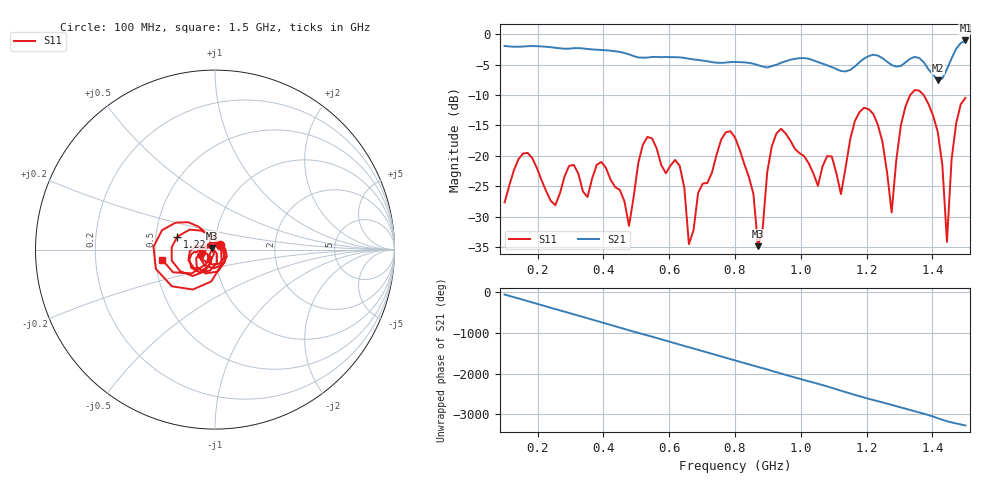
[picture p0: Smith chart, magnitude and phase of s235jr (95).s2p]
! NanoVNA-App
! Date: 2025-09-26 09:45:31
! Start: 100MHz Stop: 1,5GHz Points: 101
! S-Parameter data: F S11 S21 S12 S22
# Hz S RI R 50
!  Frequency  S11_Real  S11_Imag  S21_Real  S21_Imag  S12_Real  S12_Imag  S22_Real  S22_Imag
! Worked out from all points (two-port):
!   101 points, 100 MHz to 1.5 GHz, reference 50 ohm
!   highest |S21| = -1.04 dB at 1.5 GHz (marker M1); lowest = -7.6 dB at 1.416 GHz (marker M2)
!   |S21| within 3 dB of the highest: start of sweep to 660.5 MHz; 1.191 GHz to 1.25 GHz (58.86 MHz wide, 4.82 % of centre)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
!   lowest |S11| = -34.8 dB at 870 MHz (marker M3), VSWR 1.04, Z = 48.5 + j0.929 ohm
!   |S11| at or under -10 dB: start of sweep to 1.332 GHz; 1.373 GHz to end of sweep
!   S12 and S22 are empty: the file has one direction only
!   S11 on the Smith chart (normalised r, x): 100 MHz: 1.06, +0.06; 1.22 GHz: 0.65, +0.10; 1.5 GHz: 0.54, -0.07
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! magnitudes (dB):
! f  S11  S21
! 100 MHz  -27.6  -2.0
! 156 MHz  -19.6  -2.0
! 338 MHz  -25.9  -2.4
! 394 MHz  -21.0  -2.6
! 478 MHz  -31.5  -3.3
! 520 MHz  -18.2  -3.9
! 576 MHz  -21.5  -3.8
! 632 MHz  -21.7  -3.8
! 660 MHz  -34.5  -4.0
! 800 MHz  -17.0  -4.6
! 870 MHz  -34.8  -5.1
! 926 MHz  -16.3  -5.1
! 1.038 GHz  -22.9  -4.3
! 1.122 GHz  -26.3  -6.1
! 1.164 GHz  -14.3  -5.3
! 1.22 GHz  -13.1  -3.4
! 1.276 GHz  -29.3  -5.1
! 1.332 GHz  -10.0  -4.1
! 1.416 GHz  -16.1  -7.6
! 1.444 GHz  -34.1  -5.8
! 1.472 GHz  -14.7  -2.4
! 1.5 GHz  -10.5  -1.0
